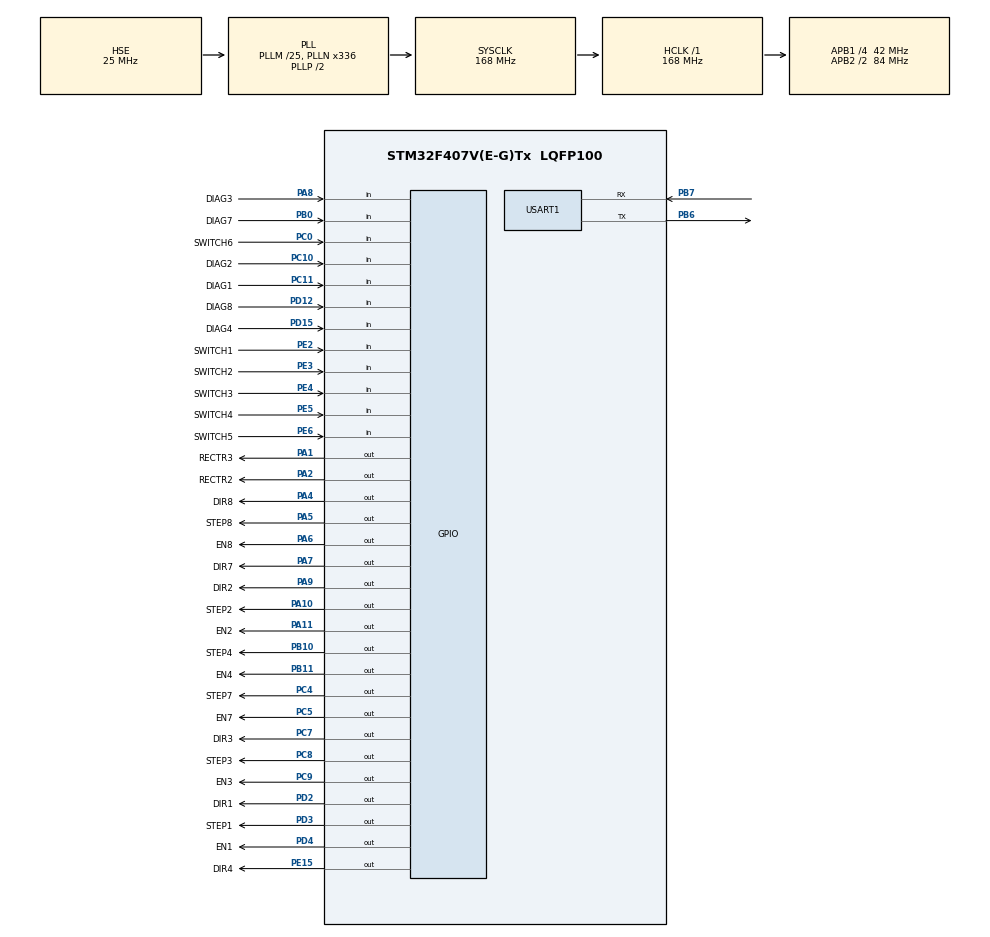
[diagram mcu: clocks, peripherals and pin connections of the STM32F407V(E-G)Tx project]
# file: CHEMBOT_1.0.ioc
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Dma.Request0=USART1_RX
Dma.Request1=USART1_TX
Dma.USART1_RX.0.Direction=DMA_PERIPH_TO_MEMORY
Dma.USART1_RX.0.FIFOMode=DMA_FIFOMODE_DISABLE
Dma.USART1_RX.0.Instance=DMA2_Stream2
Dma.USART1_RX.0.MemDataAlignment=DMA_MDATAALIGN_BYTE
Dma.USART1_RX.0.MemInc=DMA_MINC_ENABLE
Dma.USART1_RX.0.Mode=DMA_NORMAL
Dma.USART1_RX.0.PeriphDataAlignment=DMA_PDATAALIGN_BYTE
Dma.USART1_RX.0.PeriphInc=DMA_PINC_DISABLE
Dma.USART1_RX.0.Priority=DMA_PRIORITY_LOW
Dma.USART1_TX.1.Direction=DMA_MEMORY_TO_PERIPH
Dma.USART1_TX.1.FIFOMode=DMA_FIFOMODE_DISABLE
Dma.USART1_TX.1.Instance=DMA2_Stream7
Dma.USART1_TX.1.MemDataAlignment=DMA_MDATAALIGN_BYTE
Dma.USART1_TX.1.MemInc=DMA_MINC_ENABLE
Dma.USART1_TX.1.Mode=DMA_NORMAL
Dma.USART1_TX.1.PeriphDataAlignment=DMA_PDATAALIGN_BYTE
Dma.USART1_TX.1.PeriphInc=DMA_PINC_DISABLE
Dma.USART1_TX.1.Priority=DMA_PRIORITY_LOW
Mcu.Family=STM32F4
Mcu.Name=STM32F407V(E-G)Tx
Mcu.Package=LQFP100
NVIC.DMA2_Stream2_IRQn=true\:0\:0\:false\:false\:true\:false\:true\:true
NVIC.DMA2_Stream7_IRQn=true\:0\:0\:false\:false\:true\:false\:true\:true
NVIC.PriorityGroup=NVIC_PRIORITYGROUP_4
NVIC.USART1_IRQn=true\:0\:0\:false\:false\:true\:true\:true\:true
PA1.GPIO_Label=RECTR3
PA1.Signal=GPIO_Output
PA10.GPIO_Label=STEP2
PA10.Signal=GPIO_Output
PA11.GPIO_Label=EN2
PA11.Signal=GPIO_Output
PA13.GPIO_Label=SWDIO
PA13.Mode=Serial_Wire
PA13.Signal=SYS_JTMS-SWDIO
PA14.GPIO_Label=SWCLK
PA14.Mode=Serial_Wire
PA14.Signal=SYS_JTCK-SWCLK
PA2.GPIO_Label=RECTR2
PA2.Signal=GPIO_Output
PA4.GPIO_Label=DIR8
PA4.Signal=GPIO_Output
PA5.GPIO_Label=STEP8
PA5.Signal=GPIO_Output
PA6.GPIO_Label=EN8
PA6.Signal=GPIO_Output
PA7.GPIO_Label=DIR7
PA7.Signal=GPIO_Output
PA8.GPIO_Label=DIAG3
PA8.Signal=GPIO_Input
PA9.GPIO_Label=DIR2
PA9.Signal=GPIO_Output
PB0.GPIO_Label=DIAG7
PB0.Signal=GPIO_Input
PB10.GPIO_Label=STEP4
PB10.Signal=GPIO_Output
PB11.GPIO_Label=EN4
PB11.Signal=GPIO_Output
PB6.Mode=Asynchronous
PB6.Signal=USART1_TX
PB7.Mode=Asynchronous
PB7.Signal=USART1_RX
PC0.GPIO_Label=SWITCH6
PC0.Signal=GPIO_Input
PC10.GPIO_Label=DIAG2
PC10.Signal=GPIO_Input
PC11.GPIO_Label=DIAG1
PC11.Signal=GPIO_Input
PC14-OSC32_IN.Mode=LSE-External-Oscillator
PC14-OSC32_IN.Signal=RCC_OSC32_IN
PC15-OSC32_OUT.Mode=LSE-External-Oscillator
PC15-OSC32_OUT.Signal=RCC_OSC32_OUT
PC4.GPIO_Label=STEP7
PC4.Signal=GPIO_Output
PC5.GPIO_Label=EN7
PC5.Signal=GPIO_Output
PC7.GPIO_Label=DIR3
PC7.Signal=GPIO_Output
PC8.GPIO_Label=STEP3
PC8.Signal=GPIO_Output
PC9.GPIO_Label=EN3
PC9.Signal=GPIO_Output
PD12.GPIO_Label=DIAG8
PD12.Signal=GPIO_Input
PD15.GPIO_Label=DIAG4
PD15.Signal=GPIO_Input
PD2.GPIO_Label=DIR1
PD2.Signal=GPIO_Output
PD3.GPIO_Label=STEP1
PD3.Signal=GPIO_Output
PD4.GPIO_Label=EN1
PD4.Signal=GPIO_Output
PE15.GPIO_Label=DIR4
PE15.Signal=GPIO_Output
PE2.GPIO_Label=SWITCH1
PE2.Signal=GPIO_Input
PE3.GPIO_Label=SWITCH2
PE3.Signal=GPIO_Input
PE4.GPIO_Label=SWITCH3
PE4.Signal=GPIO_Input
PE5.GPIO_Label=SWITCH4
PE5.Signal=GPIO_Input
PE6.GPIO_Label=SWITCH5
PE6.Signal=GPIO_Input
PH0-OSC_IN.Mode=HSE-External-Oscillator
PH0-OSC_IN.Signal=RCC_OSC_IN
PH1-OSC_OUT.Mode=HSE-External-Oscillator
PH1-OSC_OUT.Signal=RCC_OSC_OUT
ProjectManager.HeapSize=0x200
ProjectManager.StackSize=0x400
ProjectManager.TargetToolchain=MDK-ARM V5
RCC.48MHZClocksFreq_Value=84000000
RCC.AHBFreq_Value=168000000
RCC.APB1CLKDivider=RCC_HCLK_DIV4
RCC.APB1Freq_Value=42000000
RCC.APB1TimFreq_Value=84000000
RCC.APB2CLKDivider=RCC_HCLK_DIV2
RCC.APB2Freq_Value=84000000
RCC.APB2TimFreq_Value=168000000
RCC.CortexFreq_Value=168000000
RCC.HCLKFreq_Value=168000000
RCC.HSE_VALUE=25000000
RCC.HSI_VALUE=16000000
RCC.PLLM=25
RCC.PLLN=336
RCC.PLLSourceVirtual=RCC_PLLSOURCE_HSE
RCC.SYSCLKFreq_VALUE=168000000
RCC.SYSCLKSource=RCC_SYSCLKSOURCE_PLLCLK
RCC.VCOOutputFreq_Value=336000000
TIM1.Period=10000-1
TIM1.Prescaler=168-1
USART1.VirtualMode=VM_ASYNC
VP_TIM1_VS_ClockSourceINT.Mode=Internal
board=custom

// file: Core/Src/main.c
/* USER CODE BEGIN Header */
/**
 ******************************************************************************
 * @file           : main.c
 * @brief          : Main program body
 ******************************************************************************
 * @attention
 *
 * Copyright (c) 2024 STMicroelectronics.
 *  rights reserved.
 *All
 * This software is licensed under terms that can be found in the LICENSE file
 * in the root directory of this software component.
 * If no LICENSE file comes with this software, it is provided AS-IS.
 *
 ******************************************************************************
 */
/* USER CODE END Header */
#include "main.h"
#include "dma.h"
#include "tim.h"
#include "usart.h"
#include "gpio.h"

/* USER CODE BEGIN Includes */
#include "stepper.h"
#include "relay.h"
#include "solution.h"
/* USER CODE END Includes */

/* USER CODE BEGIN PM */
#define RxBuffer_Len 100
#define TxBuffer_Len 100
/* USER CODE END PM */

/* USER CODE BEGIN PV */
uint8_t RxBuffer[RxBuffer_Len];
uint8_t TxBuffer[TxBuffer_Len];
stepper z = {STEPPERZ, DIR_UP, HEIGHT0, HEIGHT0, ACC_Z, SPEED_Z, MAX_WIDTHZ};
stepper a = {STEPPERA, DIR_CW, THETA_A0, THETA_A0, ACC_A, SPEED_A, MAX_WIDTHA};
stepper b = {STEPPERB, DIR_CW, THETA_B0, THETA_B0, ACC_B, SPEED_B, MAX_WIDTHB};
stepper pump7 = {STEPPER7, DIR_CW, 0, 0, ACC_7, SPEED_7, MAX_WIDTH7};
stepper pump8 = {STEPPER8, DIR_CW, 0, 0, ACC_8, SPEED_8, MAX_WIDTH8};
/* USER CODE END PV */

void SystemClock_Config(void);

int main(void)
{

  /* MCU Configuration--------------------------------------------------------*/

  /* Reset of all peripherals, Initializes the Flash interface and the Systick. */
  HAL_Init();

  /* Configure the system clock */
  SystemClock_Config();

  /* Initialize all configured peripherals */
  MX_GPIO_Init();
  MX_DMA_Init();
  MX_TIM1_Init();
  MX_USART1_UART_Init();
  /* USER CODE BEGIN 2 */
  __HAL_UART_ENABLE_IT(&huart1, UART_IT_IDLE);
  HAL_UART_Receive_DMA(&huart1, (uint8_t *)RxBuffer, RxBuffer_Len);
  relay_release();
  reset(&a, &b, &z);
  /* USER CODE END 2 */

  /* Infinite loop */
  while (1)
  {

  }
}

void SystemClock_Config(void)
{
  RCC_OscInitTypeDef RCC_OscInitStruct = {0};
  RCC_ClkInitTypeDef RCC_ClkInitStruct = {0};

  /** Configure the main internal regulator output voltage
  */
  __HAL_RCC_PWR_CLK_ENABLE();
  __HAL_PWR_VOLTAGESCALING_CONFIG(PWR_REGULATOR_VOLTAGE_SCALE1);

  /** Initializes the RCC Oscillators according to the specified parameters
  * in the RCC_OscInitTypeDef structure.
  */
  RCC_OscInitStruct.OscillatorType = RCC_OSCILLATORTYPE_HSE;
  RCC_OscInitStruct.HSEState = RCC_HSE_ON;
  RCC_OscInitStruct.PLL.PLLState = RCC_PLL_ON;
  RCC_OscInitStruct.PLL.PLLSource = RCC_PLLSOURCE_HSE;
  RCC_OscInitStruct.PLL.PLLM = 25;
  RCC_OscInitStruct.PLL.PLLN = 336;
  RCC_OscInitStruct.PLL.PLLP = RCC_PLLP_DIV2;
  RCC_OscInitStruct.PLL.PLLQ = 4;
  if (HAL_RCC_OscConfig(&RCC_OscInitStruct) != HAL_OK)
  {
    Error_Handler();
  }

  /** Initializes the CPU, AHB and APB buses clocks
  */
  RCC_ClkInitStruct.ClockType = RCC_CLOCKTYPE_HCLK|RCC_CLOCKTYPE_SYSCLK
                              |RCC_CLOCKTYPE_PCLK1|RCC_CLOCKTYPE_PCLK2;
  RCC_ClkInitStruct.SYSCLKSource = RCC_SYSCLKSOURCE_PLLCLK;
  RCC_ClkInitStruct.AHBCLKDivider = RCC_SYSCLK_DIV1;
  RCC_ClkInitStruct.APB1CLKDivider = RCC_HCLK_DIV4;
  RCC_ClkInitStruct.APB2CLKDivider = RCC_HCLK_DIV2;

  if (HAL_RCC_ClockConfig(&RCC_ClkInitStruct, FLASH_LATENCY_5) != HAL_OK)
  {
    Error_Handler();
  }
}

void Error_Handler(void)
{
  __disable_irq();
  while (1)
  {
  }
}
